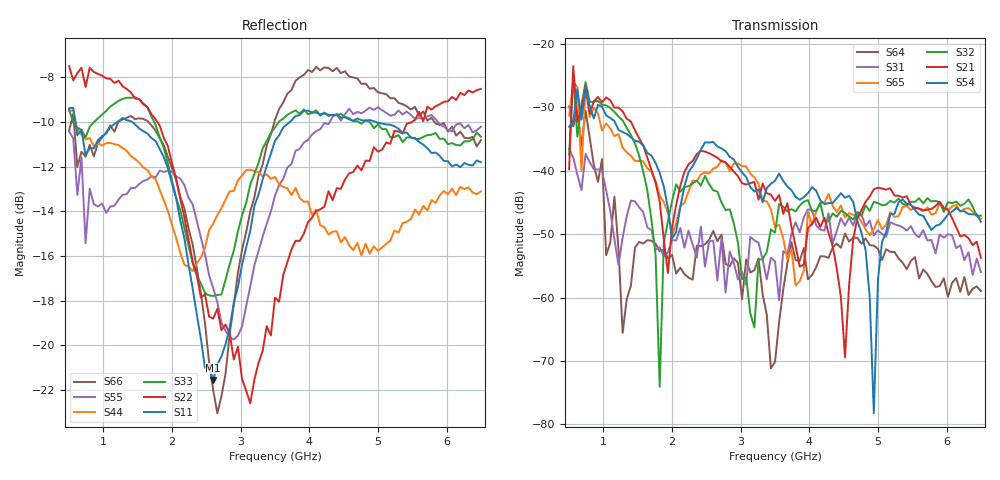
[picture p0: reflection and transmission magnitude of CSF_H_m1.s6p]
!Keysight Technologies,M9804A,MY58100912,A.14.10.03
!Date: Thursday, April 27, 2023 10:28:33
!Correction: S11(C  6-Port  )
!S12(C  6-Port  )
!S13(C  6-Port  )
!S14(C  6-Port  )
!S15(C  6-Port  )
!S16(C  6-Port  )
!S21(C  6-Port  )
!S22(C  6-Port  )
!S23(C  6-Port  )
!S24(C  6-Port  )
!S25(C  6-Port  )
!S26(C  6-Port  )
!S31(C  6-Port  )
!S32(C  6-Port  )
!S33(C  6-Port  )
!S34(C  6-Port  )
!S35(C  6-Port  )
!S36(C  6-Port  )
!S41(C  6-Port  )
!S42(C  6-Port  )
!S43(C  6-Port  )
!S44(C  6-Port  )
!S45(C  6-Port  )
!S46(C  6-Port  )
!S51(C  6-Port  )
!S52(C  6-Port  )
!S53(C  6-Port  )
!S54(C  6-Port  )
!S55(C  6-Port  )
!S56(C  6-Port  )
!S61(C  6-Port  )
!S62(C  6-Port  )
!S63(C  6-Port  )
!S64(C  6-Port  )
!S65(C  6-Port  )
!S66(C  6-Port  )
!S6P File: Measurement: :
# Hz S  RI  R 50
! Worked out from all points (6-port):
!   101 points, 500 MHz to 6.5 GHz, reference 50 ohm
!   strongest paths, dB at 500 MHz, 2 GHz, 3.5 GHz, 5 GHz, 6.5 GHz:
!     S54: -33.1, -50.7, -41.6, -57.2, -48.1
!     S21: -39.8, -48.9, -44.8, -42.7, -53.8
!     S32: -37.4, -44.8, -49.8, -45.1, -47.1
!     S65: -31.3, -50.3, -48.9, -47.8, -47.6
!     S31: -36.6, -50.9, -54.3, -49.4, -56.0
!     S64: -29.8, -53.3, -70.2, -52.3, -59.0
!   lowest |S11| = -21.6 dB at 2.6 GHz (marker M1), VSWR 1.18, Z = 42.6 + j2.16 ohm
!   |S11| at or under -10 dB: 591.1 MHz to 1.201 GHz (609.4 MHz wide, 68 % of centre); 1.417 GHz to 3.715 GHz (2.297 GHz wide, 89.5 % of centre); 4.971 GHz to end of sweep
